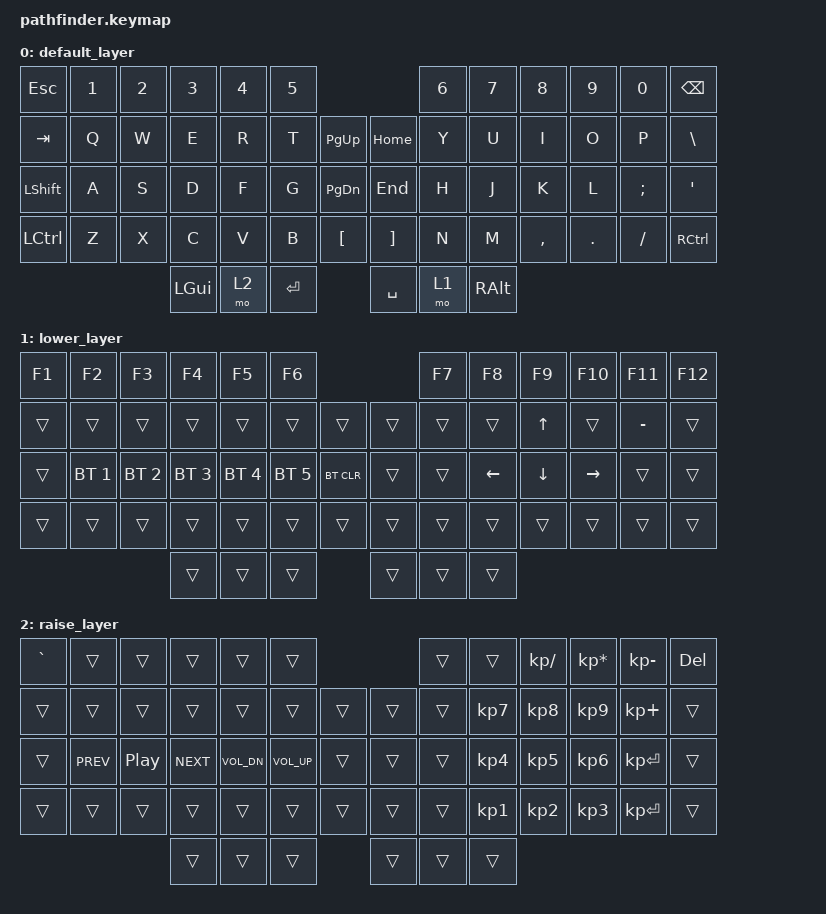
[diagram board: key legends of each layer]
/*
 * Copyright (c) 2020 The ZMK Contributors
 *
 * SPDX-License-Identifier: MIT
 */

#include <behaviors.dtsi>
#include <dt-bindings/zmk/keys.h>
#include <dt-bindings/zmk/bt.h>

/ {
        keymap {
                compatible = "zmk,keymap";

                default_layer {
// -----------------------------------------------------------------------------------------
// |  TAB |  1  |  2  |  3  |  4  |  5  |                        |  6  |  7   |  8  |  9  |  0  | BKSP |
// |  TAB |  Q  |  W  |  E  |  R  |  T  | PG_UP |        | HOME  |  Y  |  U   |  I  |  O  |  P  |  |   |
// | SHFT |  A  |  S  |  D  |  F  |  G  | PG_DN |        |  END  |  H  |  J   |  K  |  L  |  ;  |  '   |
// | CTRL |  Z  |  X  |  C  |  V  |  B  | LBKT  |        |  RBKT |  N  |  M   |  ,  |  .  |  /  | RCTRL|
//                        | GUI | RSE | RET |               | SPC | LWR  | ALT |
                        bindings = <
   &kp ESC   &kp N1 &kp N2 &kp N3 &kp N4 &kp N5                        &kp N6 &kp N7  &kp N8    &kp N9  &kp N0   &kp BSPC
   &kp TAB   &kp Q  &kp W  &kp E  &kp R  &kp T  &kp PG_UP    &kp HOME  &kp Y  &kp U   &kp I     &kp O   &kp P    &kp BSLH
   &kp LSHFT &kp A  &kp S  &kp D  &kp F  &kp G  &kp PG_DN    &kp END   &kp H  &kp J   &kp K     &kp L   &kp SEMI &kp SQT
   &kp LCTRL &kp Z  &kp X  &kp C  &kp V  &kp B  &kp LBKT     &kp RBKT  &kp N  &kp M   &kp COMMA &kp DOT &kp FSLH &kp RCTRL
                              &kp LGUI &mo 2  &kp RET           &kp SPACE &mo 1 &kp RALT
                        >;
                };
                lower_layer {

// -----------------------------------------------------------------------------------------
// |  F1  | F2  | F3  | F4  | F5  | F6  |                      | F7  | F8  | F9  | F10 | F11 |  F12 |
// |      |     |     |     |     |     |     |          |     |     |     |  UP |     |MINUS|      |
// |      | BT1 | BT2 | BT3 | BT4 | BT5 |BTCLR|          |     |     | LFT | DWN | RGT |     |      |
// |      |     |     |     |     |     |     |          |     |     |     |     |     |     |      |
//                        |     |     |     |              |     |     |     |
                        bindings = <
   &kp F1  &kp F2       &kp F3       &kp F4 &kp F5 &kp F6                                       &kp F7  &kp F8   &kp F9   &kp F10   &kp F11   &kp F12
   &trans  &trans       &trans       &trans &trans &trans &trans                         &trans &trans  &trans   &kp UP   &trans    &kp MINUS &trans
   &trans  &bt BT_SEL 1 &bt BT_SEL 2 &bt BT_SEL 3 &bt BT_SEL 4 &bt BT_SEL 5 &bt BT_CLR    &trans &trans  &kp LEFT &kp DOWN &kp RIGHT &trans    &trans
   &trans  &trans       &trans       &trans &trans &trans &trans                         &trans &trans  &trans   &trans   &trans    &trans    &trans
                                        &trans &trans  &trans                              &trans &trans &trans
                        >;
                };

                raise_layer {
// -----------------------------------------------------------------------------------------
// |   `~ |     |     |     |     |     |                      |     |     | KP D| KP X| KP -|  DEL |
// |      |     |     |     |     |     |     |          |     |     | KP 7| KP 8| KP 9| KP+ |      |
// |      | PRV |PL/PS|NEXT |VOLU |VOLD |     |          |     |     | KP 4| KP 5| KP 6| KPEN|      |
// |      |     |     |     |     |     |     |          |     |     | KP 1| KP 2| KP 3| KPEN|      |
//                        |     |     |     |              |     |     |     |
                        bindings = <
   &kp GRAVE &trans     &trans   &trans     &trans &trans                             &trans &trans    &kp KP_SLASH &kp KP_MULTIPLY &kp KP_MINUS &kp DEL
   &trans    &trans     &trans   &trans     &trans &trans &trans               &trans &trans &kp KP_N7 &kp KP_N8    &kp KP_N9       &kp KP_PLUS  &trans
   &trans    &kp C_PREV &kp C_PP &kp C_NEXT &kp C_VOL_DN &kp C_VOL_UP &trans   &trans &trans &kp KP_N4 &kp KP_N5    &kp KP_N6       &kp KP_ENTER &trans
   &trans    &trans     &trans   &trans     &trans &trans &trans               &trans &trans &kp KP_N1 &kp KP_N2    &kp KP_N3       &kp KP_ENTER &trans
                                         &trans &trans  &trans              &trans &trans &trans
                        >;
                };
        };
};
